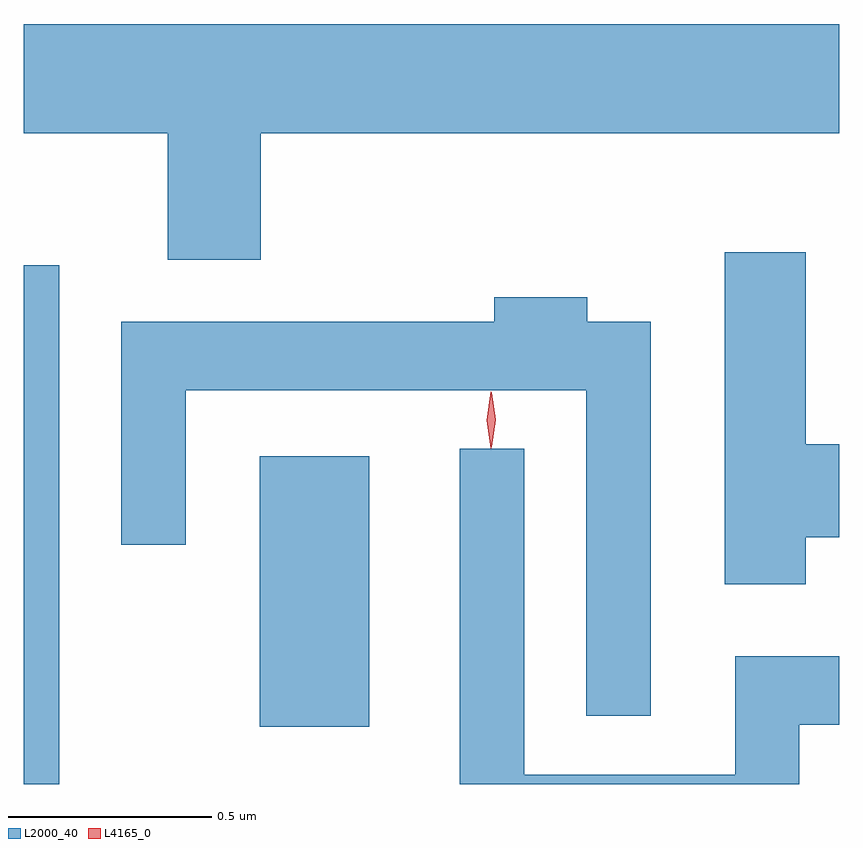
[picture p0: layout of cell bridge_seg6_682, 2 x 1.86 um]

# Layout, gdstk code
import gdstk
lib = gdstk.Library(unit=1e-6, precision=1e-09)
def R(c, l, rs):  # rectangles x0, y0, x1, y1
    for r in rs: c.add(gdstk.rectangle(r[:2], r[2:], *l))
def P(c, l, *ps):  # polygons
    for p in ps: c.add(gdstk.Polygon(p, *l))
L2000_40 = (2000, 40)
L4165_0 = (4165, 0)

bridge_seg6_682 = lib.new_cell('bridge_seg6_682')
R(bridge_seg6_682, L2000_40, [(401.537,1657.221,401.624,1658.493), (402.116,1657.361,402.384,1658.024)])
P(bridge_seg6_682, L2000_40, [(402.119,1658.816),(403.537,1658.816),(403.537,1659.084),(401.537,1659.084),(401.537,1658.816),(401.891,1658.816),(401.891,1658.506),(402.119,1658.506)],
  [(403.454,1657.826),(403.537,1657.826),(403.537,1658.054),(403.454,1658.054),(403.454,1658.524),(403.256,1658.524),(403.256,1657.711),(403.454,1657.711)],
  [(403.074,1658.354),(402.919,1658.354),(402.919,1658.414),(402.691,1658.414),(402.691,1658.354),(401.776,1658.354),(401.776,1657.808),(401.934,1657.808),(401.934,1658.186),(402.916,1658.186),(402.916,1657.388),(403.074,1657.388)],
  [(403.439,1657.366),(403.537,1657.366),(403.537,1657.534),(403.281,1657.534),(403.281,1657.244),(402.764,1657.244),(402.764,1658.043),(402.606,1658.043),(402.606,1657.221),(403.439,1657.221)])
P(bridge_seg6_682, L4165_0, [(402.682,1658.043),(402.682,1658.044),(402.672,1658.113),(402.682,1658.182),(402.682,1658.183),(402.683,1658.182),(402.692,1658.113),(402.683,1658.044)],
  [(402.684,1658.047),(402.684,1658.048),(402.674,1658.114),(402.684,1658.18),(402.684,1658.181),(402.685,1658.18),(402.694,1658.114),(402.685,1658.048)])

lib.write_gds('bridge_seg6_682.gds')
